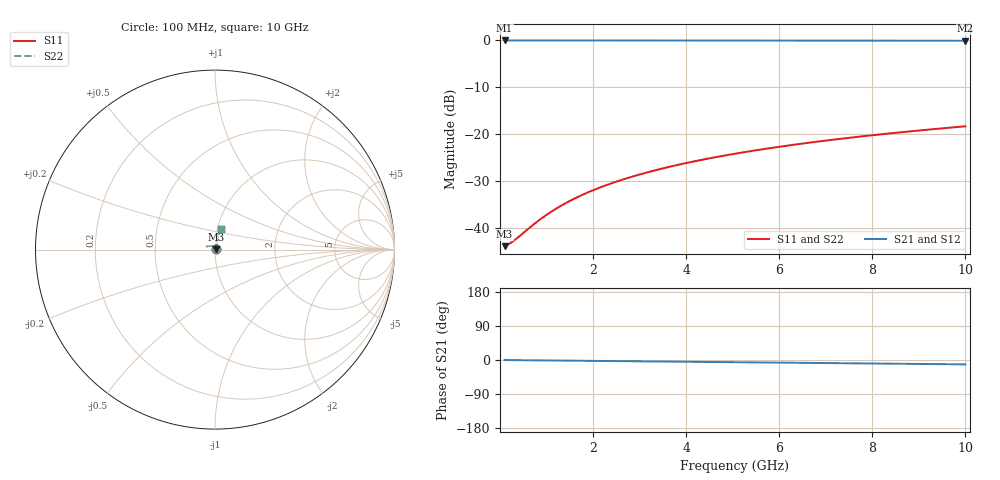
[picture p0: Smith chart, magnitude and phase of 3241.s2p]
# Hz S RI R 50.00
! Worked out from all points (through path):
!   100 points, 100 MHz to 10 GHz, reference 50 ohm
!   highest |S21| = -0.06 dB at 100 MHz (marker M1); lowest = -0.1 dB at 10 GHz (marker M2)
!   group delay of S21, straight-line fit = 3.2 ps
!   lowest |S11| = -43.8 dB at 100 MHz (marker M3), VSWR 1.01, Z = 50.6 + j0.123 ohm
!   |S11| at or under -10 dB: start of sweep to end of sweep
!   |S22| runs from -43.8 to -18.3 dB; largest |S21 - S12| = 0
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1e8  0.00634 0.00121  0.9937 -0.00201  0.9937 -0.00201  0.00634 0.00121
2e8  0.00639 0.00243  0.9936 -0.00401  0.9936 -0.00401  0.00639 0.00243
3e8  0.00644 0.00364  0.9936 -0.00602  0.9936 -0.00602  0.00644 0.00364
8e8  0.00667 0.0097  0.9933 -0.0161  0.9933 -0.0161  0.00667 0.0097
9e8  0.00672 0.0109  0.9932 -0.0181  0.9932 -0.0181  0.00672 0.0109
1.1e9  0.00685 0.0133  0.9931 -0.0221  0.9931 -0.0221  0.00685 0.0133
1.4e9  0.00706 0.017  0.9929 -0.0281  0.9929 -0.0281  0.00706 0.017
1.6e9  0.00723 0.0194  0.9927 -0.0321  0.9927 -0.0321  0.00723 0.0194
1.8e9  0.00741 0.0218  0.9925 -0.0361  0.9925 -0.0361  0.00741 0.0218
2.1e9  0.00772 0.0254  0.9921 -0.0421  0.9921 -0.0421  0.00772 0.0254
2.5e9  0.0082 0.0302  0.9916 -0.0501  0.9916 -0.0501  0.0082 0.0302
2.9e9  0.00876 0.0351  0.991 -0.0581  0.991 -0.0581  0.00876 0.0351
3.4e9  0.00956 0.0411  0.99 -0.0681  0.99 -0.0681  0.00956 0.0411
3.8e9  0.0103 0.0458  0.9892 -0.076  0.9892 -0.076  0.0103 0.0458
4.2e9  0.0111 0.0506  0.9883 -0.084  0.9883 -0.084  0.0111 0.0506
4.6e9  0.012 0.0554  0.9873 -0.0919  0.9873 -0.0919  0.012 0.0554
5.1e9  0.0132 0.0613  0.986 -0.1018  0.986 -0.1018  0.0132 0.0613
5.9e9  0.0153 0.0707  0.9835 -0.1176  0.9835 -0.1176  0.0153 0.0707
6.7e9  0.0178 0.08  0.9807 -0.1333  0.9807 -0.1333  0.0178 0.08
7.5e9  0.0206 0.0893  0.9776 -0.1489  0.9776 -0.1489  0.0206 0.0893
8.4e9  0.024 0.0995  0.9737 -0.1664  0.9737 -0.1664  0.024 0.0995
1e10  0.0311 0.1174  0.9657 -0.197  0.9657 -0.197  0.0311 0.1174
